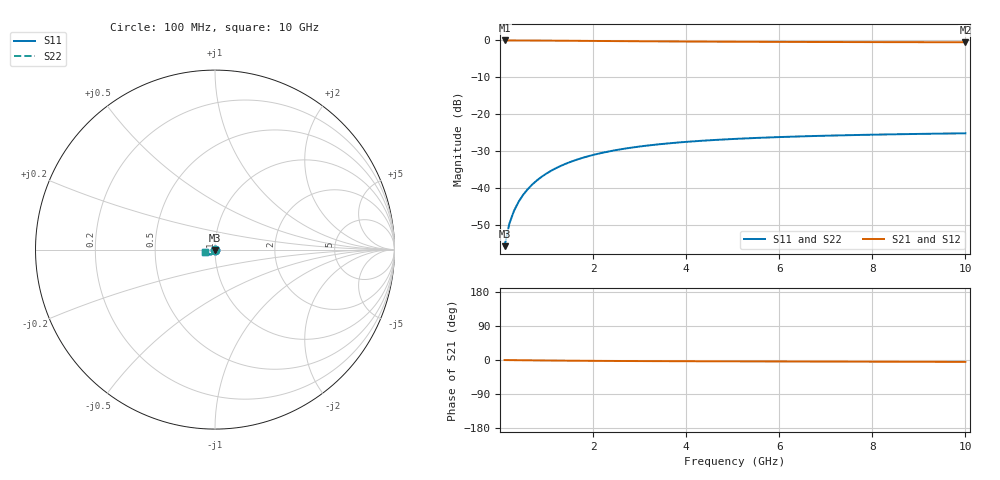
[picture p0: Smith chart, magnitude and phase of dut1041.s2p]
! Touchstone file exported from HFSS 2024.1.0
!  File:  C:/UserFiles/LocalFiles/RDL_TSV_Batchsim/temp_TSV1_1041_1780061637.aedt
!  Generated:  09:39:42 PM May 29, 2026
!  Design:  TSV1
!  Project:  temp_TSV1_1041_1780061637
!  Setup:  Setup1
!  Solution:  Sweep
! Variables:
!  dtsv = 13.93um
!  hbump = 3um
!  htsv = 75.57um
!  lrdl = 252.1521522um
!  p = 40
!  p1 = 51.91um
!  t = 500um
!  trdl = 3um
!  wrdl = 24.89489489um
# GHz S MA R 50.000000
! Terminal data exported
! Port[1] = TSV22_T1
! Port[2] = TSV22_T2
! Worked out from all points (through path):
!   100 points, 100 MHz to 10 GHz, reference 50 ohm
!   highest |S21| = 0.00 dB at 100 MHz (marker M1); lowest = -0.5 dB at 10 GHz (marker M2)
!   lowest |S11| = -55.7 dB at 100 MHz (marker M3), VSWR 1.00, Z = 50 - j0.164 ohm
!   |S11| at or under -10 dB: start of sweep to end of sweep
!   |S22| runs from -55.7 to -25.1 dB; largest |S21 - S12| = 7.5e-15
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0.1  0.00164 -88.9  0.9999 -0.1  0.9999 -0.1  0.00164 -88.9
! Gamma 0 0 0 0
! Port Impedance 50 0 50 0
0.2  0.003279 -92.0  0.9997 -0.3  0.9997 -0.3  0.003279 -92.0
0.3  0.004915 -94.2  0.9994 -0.4  0.9994 -0.4  0.004915 -94.2
0.4  0.006542 -96.1  0.999 -0.5  0.999 -0.5  0.006542 -96.1
0.5  0.008152 -98.0  0.9986 -0.7  0.9986 -0.7  0.008152 -98.0
0.6  0.00974 -99.9  0.998 -0.8  0.998 -0.8  0.00974 -99.9
0.7  0.0113 -101.7  0.9974 -0.9  0.9974 -0.9  0.0113 -101.7
0.8  0.01283 -103.5  0.9967 -1.1  0.9967 -1.1  0.01283 -103.5
0.9  0.01433 -105.2  0.996 -1.2  0.996 -1.2  0.01433 -105.2
1.1  0.01722 -108.6  0.9943 -1.4  0.9943 -1.4  0.01722 -108.6
1.4  0.02125 -113.3  0.9914 -1.7  0.9914 -1.7  0.02125 -113.3
1.6  0.02372 -116.2  0.9894 -1.9  0.9894 -1.9  0.02372 -116.2
1.8  0.02602 -119.0  0.9873 -2.1  0.9873 -2.1  0.02602 -119.0
2.1  0.02917 -122.9  0.9841 -2.3  0.9841 -2.3  0.02917 -122.9
2.5  0.03282 -127.7  0.98 -2.6  0.98 -2.6  0.03282 -127.7
2.9  0.03593 -131.8  0.9761 -2.8  0.9761 -2.8  0.03593 -131.8
3.4  0.03918 -136.4  0.9718 -3.0  0.9718 -3.0  0.03918 -136.4
4.2  0.04325 -142.6  0.9658 -3.3  0.9658 -3.3  0.04325 -142.6
5.1  0.04664 -148.1  0.9605 -3.6  0.9605 -3.6  0.04664 -148.1
6.7  0.05074 -155.8  0.9537 -4.1  0.9537 -4.1  0.05074 -155.8
8.4  0.05353 -161.9  0.9489 -4.5  0.9489 -4.5  0.05353 -161.9
10  0.05532 -166.5  0.9458 -5.0  0.9458 -5.0  0.05532 -166.5
